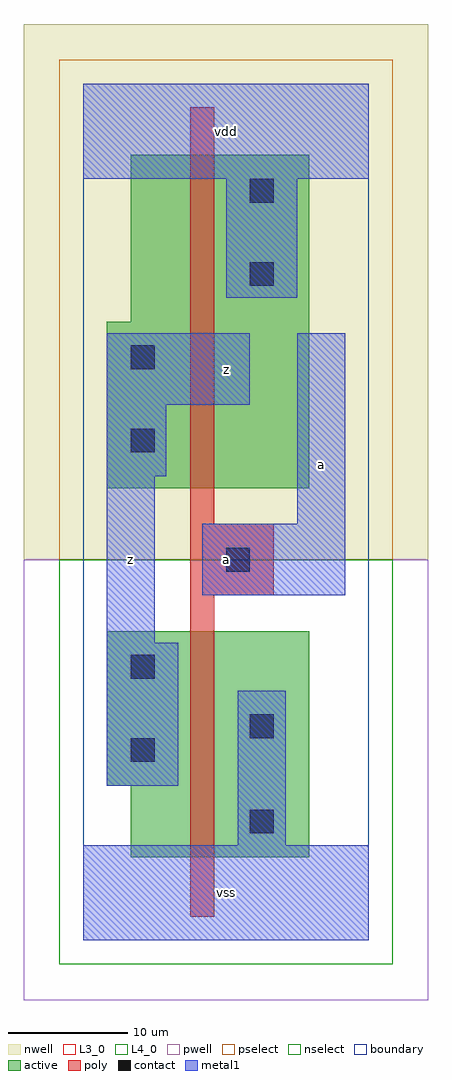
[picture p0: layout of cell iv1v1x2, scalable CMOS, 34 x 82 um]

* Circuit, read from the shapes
.subckt iv1v1x2 a vdd vss z
M1 vss a z VSUBS nfet w=19u l=2u
M2 vdd a z n1 pfet w=28u l=2u
.ends

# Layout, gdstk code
import gdstk
lib = gdstk.Library(unit=1e-6, precision=1e-09)
def R(c, l, rs):  # rectangles x0, y0, x1, y1
    for r in rs: c.add(gdstk.rectangle(r[:2], r[2:], *l))
L3_0 = (3, 0)
L4_0 = (4, 0)
contact = (25, 0)
pwell = (41, 0)
nwell = (42, 0)
active = (43, 0)
pselect = (44, 0)
nselect = (45, 0)
poly = (46, 0)
metal1 = (49, 0)
boundary = (63, 0)

iv1v1x2 = lib.new_cell('iv1v1x2')
R(iv1v1x2, L3_0, [(4,7,19,13), (2,13,19,26)])
R(iv1v1x2, L4_0, [(2,38,19,52), (4,52,19,66)])
R(iv1v1x2, contact, [(14,9,16,11), (4,15,6,17), (14,17,16,19), (4,22,6,24), (12,31,14,33), (4,41,6,43), (4,48,6,50), (14,55,16,57), (14,62,16,64)])
R(iv1v1x2, pwell, [(-5,-5,29,32)])
R(iv1v1x2, nwell, [(-5,32,29,77)])
R(iv1v1x2, active, [(4,7,19,13), (2,13,19,26), (2,38,19,52), (4,52,19,66)])
R(iv1v1x2, pselect, [(-2,32,26,74)])
R(iv1v1x2, nselect, [(-2,-2,26,32)])
R(iv1v1x2, poly, [(9,2,11,29), (9,29,16,35), (9,35,11,70)])
R(iv1v1x2, metal1, [(0,0,24,8), (13,8,17,21), (2,13,8,25), (2,25,6,39), (10,29,22,35), (18,35,22,51), (2,39,7,45), (2,45,14,51), (12,54,18,64), (0,64,24,72)])
R(iv1v1x2, boundary, [(0,0,24,72)])
iv1v1x2.add(gdstk.Label('z', (4,32), layer=49, texttype=0))
iv1v1x2.add(gdstk.Label('vss', (12,4), layer=49, texttype=0))
iv1v1x2.add(gdstk.Label('a', (12,32), layer=49, texttype=0))
iv1v1x2.add(gdstk.Label('z', (12,48), layer=49, texttype=0))
iv1v1x2.add(gdstk.Label('vdd', (12,68), layer=49, texttype=0))
iv1v1x2.add(gdstk.Label('a', (20,40), layer=49, texttype=0))

lib.write_gds('iv1v1x2.gds')
